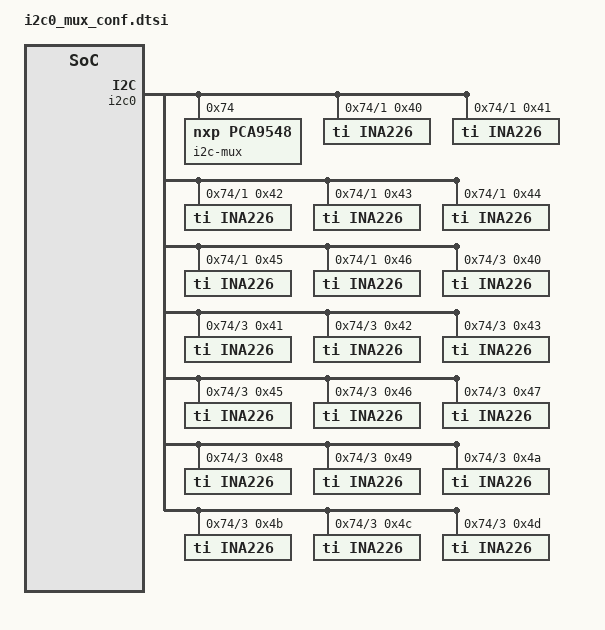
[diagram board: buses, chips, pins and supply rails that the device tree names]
&i2c0 {
	status = "okay";
	i2c-mux@74 {
		compatible = "nxp,pca9548";
		status = "okay";
		#address-cells = <1>;
		#size-cells = <0>;
		reg = <0x74>;

		i2c@0 { /* PMBUS1 */
			#address-cells = <1>;
			#size-cells = <0>;
			reg = <0>;
		};
		i2c@1 { /* PMBUS1_INA226 */
			#address-cells = <1>;
			#size-cells = <0>;
			reg = <1>;

			ina226@40 { /* vccint */
				compatible = "ti,ina226";
				reg = <0x40>;
				shunt-resistor = <500>;
			};

			ina226@41 { /* vcc soc */
				compatible = "ti,ina226";
				reg = <0x41>;
				shunt-resistor = <500>;
			};

			ina226@42 { /* vcc pmc */
				compatible = "ti,ina226";
				reg = <0x42>;
				shunt-resistor = <5000>;
			};

			ina226@43 { /* vcc ram */
				compatible = "ti,ina226";
				reg = <0x43>;
				shunt-resistor = <5000>;
			};

			ina226@44 { /* vcc pslp cpm5 */
				compatible = "ti,ina226";
				reg = <0x44>;
				shunt-resistor = <5000>;
			};

			ina226@45 { /* vcc psfp */
				compatible = "ti,ina226";
				reg = <0x45>;
				shunt-resistor = <5000>;
			};

			ina226@46 { /* vcc hdio 3v3 */
				compatible = "ti,ina226";
				reg = <0x46>;
				shunt-resistor = <5000>;
			};
		};
		i2c@2 {
			#address-cells = <1>;
			#size-cells = <0>;
			reg = <2>;
		};
		i2c@3 { /* PMBUS2_INA226 */
			#address-cells = <1>;
			#size-cells = <0>;
			reg = <3>;

			ina226@40 { /* vccaux */
				compatible = "ti,ina226";
				reg = <0x40>;
				shunt-resistor = <5000>;
			};

			ina226@41 { /* vccaux pmc */
				compatible = "ti,ina226";
				reg = <0x41>;
				shunt-resistor = <5000>;
			};

			ina226@42 { /* mgtavcc */
				compatible = "ti,ina226";
				reg = <0x42>;
				shunt-resistor = <5000>;
			};

			ina226@43 { /* vcc 1v5 */
				compatible = "ti,ina226";
				reg = <0x43>;
				shunt-resistor = <5000>;
			};

			ina226@45 { /* vcco mio */
				compatible = "ti,ina226";
				reg = <0x45>;
				shunt-resistor = <5000>;
			};

			ina226@46 { /* mgtavtt */
				compatible = "ti,ina226";
				reg = <0x46>;
				shunt-resistor = <5000>;
			};

			ina226@47 { /* vcco 502 */
				compatible = "ti,ina226";
				reg = <0x47>;
				shunt-resistor = <5000>;
			};

			ina226@48 { /* mgtvccaux */
				compatible = "ti,ina226";
				reg = <0x48>;
				shunt-resistor = <5000>;
			};

			ina226@49 { /* vcc1v1 lp4 */
				compatible = "ti,ina226";
				reg = <0x49>;
				shunt-resistor = <5000>;
			};

			ina226@4a { /* vadj fmc */
				compatible = "ti,ina226";
				reg = <0x4a>;
				shunt-resistor = <2000>;
			};

			ina226@4b { /* lpdmgtyavcc */
				compatible = "ti,ina226";
				reg = <0x4b>;
				shunt-resistor = <2000>;
			};

			ina226@4c { /* lpdmgtyavtt */
				compatible = "ti,ina226";
				reg = <0x4c>;
				shunt-resistor = <2000>;
			};

			ina226@4d { /* lpdmgtyvccaux */
				compatible = "ti,ina226";
				reg = <0x4d>;
				shunt-resistor = <5000>;
			};
		};
		i2c@4 {
			#address-cells = <1>;
			#size-cells = <0>;
			reg = <4>;
		};
		i2c@5 { /* RC21008 Clock Gneretor */
			#address-cells = <1>;
			#size-cells = <0>;
			reg = <5>;
		};
		i2c@6 { /* FMC sensor */
			#address-cells = <1>;
			#size-cells = <0>;
			reg = <6>;
		};
		i2c@7 { /* SFP */
			#address-cells = <1>;
			#size-cells = <0>;
			reg = <7>;
		};
	};
};
